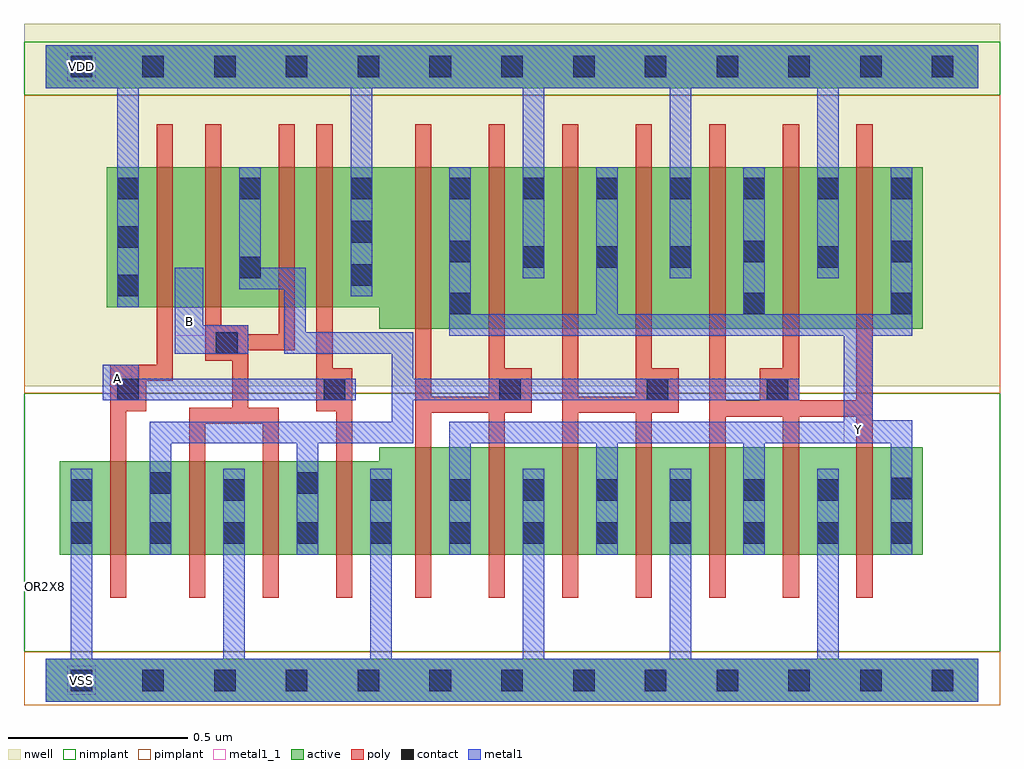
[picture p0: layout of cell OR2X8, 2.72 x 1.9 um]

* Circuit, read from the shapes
.subckt OR2X8 A B VDD VSS Y
M1 n1 A VSS VSS nfet w=0.26u l=0.045u m=2
M2 VSS B n1 VSS nfet w=0.26u l=0.045u m=2
M3 Y n1 VSS VSS nfet w=0.3u l=0.045u m=7
M4 n2 A VDD VDD pfet w=0.39u l=0.045u
M5 n1 B n2 VDD pfet w=0.39u l=0.045u
M6 n3 B n1 VDD pfet w=0.39u l=0.045u
M7 VDD A n3 VDD pfet w=0.39u l=0.045u
M8 Y n1 VDD VDD pfet w=0.45u l=0.045u m=7
.ends

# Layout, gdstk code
import gdstk
lib = gdstk.Library(unit=1e-6, precision=5e-10)
def R(c, l, rs):  # rectangles x0, y0, x1, y1
    for r in rs: c.add(gdstk.rectangle(r[:2], r[2:], *l))
def A(c, l, x, y, w, h, nx, ny, dx, dy):  # array of equal rectangles
    R(c, l, [(x+i*dx, y+j*dy, x+i*dx+w, y+j*dy+h) for i in range(nx) for j in range(ny)])
def P(c, l, *ps):  # polygons
    for p in ps: c.add(gdstk.Polygon(p, *l))
active = (1, 0)
nwell = (2, 0)
poly = (3, 0)
nimplant = (4, 0)
pimplant = (5, 0)
contact = (6, 0)
metal1 = (7, 0)
metal1_1 = (7, 1)

or2x8 = lib.new_cell('OR2X8')
R(or2x8, active, [(0,-0.06,2.6,0.06), (0,1.65,2.6,1.77)])
P(or2x8, active, [(0.93,0.65),(2.445,0.65),(2.445,0.35),(0.04,0.35),(0.04,0.61),(0.93,0.61)],
  [(0.17,1.43),(2.445,1.43),(2.445,0.98),(0.93,0.98),(0.93,1.04),(0.17,1.04)])
R(or2x8, nwell, [(-0.06,0.82,2.66,1.83)])
P(or2x8, poly, [(0.755,1.55),(0.8,1.55),(0.8,0.87),(0.855,0.87),(0.855,0.23),(0.81,0.23),(0.81,0.75),(0.755,0.75)],
  [(0.445,1.55),(0.49,1.55),(0.49,0.99),(0.565,0.99),(0.565,0.965),(0.65,0.965),(0.65,1.55),(0.695,1.55),(0.695,0.92),(0.565,0.92),(0.565,0.76),(0.65,0.76),(0.65,0.23),(0.605,0.23),(0.605,0.715),(0.445,0.715),(0.445,0.23),(0.4,0.23),(0.4,0.76),(0.52,0.76),(0.52,0.89),(0.445,0.89)],
  [(0.31,1.55),(0.355,1.55),(0.355,0.835),(0.28,0.835),(0.28,0.75),(0.225,0.75),(0.225,0.23),(0.18,0.23),(0.18,0.88),(0.31,0.88)],
  [(1.355,0.87),(1.28,0.87),(1.28,1.55),(1.235,1.55),(1.235,0.79),(1.075,0.79),(1.075,1.55),(1.03,1.55),(1.03,0.23),(1.075,0.23),(1.075,0.745),(1.235,0.745),(1.235,0.23),(1.28,0.23),(1.28,0.745),(1.355,0.745)],
  [(1.85,1.55),(1.895,1.55),(1.895,0.78),(1.99,0.78),(1.99,0.87),(2.055,0.87),(2.055,1.55),(2.1,1.55),(2.1,0.78),(2.26,0.78),(2.26,1.55),(2.305,1.55),(2.305,0.23),(2.26,0.23),(2.26,0.735),(2.1,0.735),(2.1,0.23),(2.055,0.23),(2.055,0.735),(1.895,0.735),(1.895,0.23),(1.85,0.23)],
  [(1.765,0.87),(1.69,0.87),(1.69,1.55),(1.645,1.55),(1.645,0.79),(1.485,0.79),(1.485,1.55),(1.44,1.55),(1.44,0.23),(1.485,0.23),(1.485,0.745),(1.645,0.745),(1.645,0.23),(1.69,0.23),(1.69,0.745),(1.765,0.745)])
R(or2x8, nimplant, [(-0.06,0.08,2.66,0.8), (-0.06,1.63,2.66,1.78)])
R(or2x8, pimplant, [(-0.06,-0.07,2.66,0.08), (-0.06,0.8,2.66,1.63)])
A(or2x8, contact, 0.07, -0.03, 0.06, 0.06, 13, 2, 0.2, 1.71)
A(or2x8, contact, 0.29, 0.38, 0.06, 0.06, 4, 1, 0.205, 0)
A(or2x8, contact, 1.125, 0.38, 0.06, 0.06, 7, 2, 0.205, 0.96)
A(or2x8, contact, 1.125, 0.5, 0.06, 0.06, 6, 1, 0.205, 0)
A(or2x8, contact, 0.2, 1.07, 0.06, 0.06, 1, 3, 0, 0.135)
A(or2x8, contact, 0.85, 1.1, 0.06, 0.06, 1, 3, 0, 0.12)
A(or2x8, contact, 1.33, 1.15, 0.06, 0.06, 3, 1, 0.205, 0)
R(or2x8, contact, [(0.07,0.38,0.13,0.44), (0.07,0.5,0.13,0.56), (0.495,0.5,0.555,0.56), (0.905,0.5,0.965,0.56), (2.355,0.505,2.415,0.565), (0.29,0.52,0.35,0.58), (0.7,0.52,0.76,0.58), (0.2,0.78,0.26,0.84), (0.775,0.78,0.835,0.84), (1.265,0.78,1.325,0.84), (1.675,0.78,1.735,0.84), (2.01,0.78,2.07,0.84), (0.475,0.91,0.535,0.97), (1.125,1.02,1.185,1.08), (1.945,1.02,2.005,1.08), (2.355,1.02,2.415,1.08), (0.54,1.12,0.6,1.18), (2.15,1.15,2.21,1.21), (1.125,1.165,1.185,1.225), (1.945,1.165,2.005,1.225), (2.355,1.165,2.415,1.225), (0.54,1.34,0.6,1.4)])
P(or2x8, metal1, [(2.415,0.725),(2.305,0.725),(2.305,0.96),(2.415,0.96),(2.415,1.43),(2.355,1.43),(2.355,1.02),(2.005,1.02),(2.005,1.43),(1.945,1.43),(1.945,1.02),(1.595,1.02),(1.595,1.43),(1.535,1.43),(1.535,1.02),(1.185,1.02),(1.185,1.43),(1.125,1.43),(1.125,0.96),(2.225,0.96),(2.225,0.72),(1.125,0.72),(1.125,0.35),(1.185,0.35),(1.185,0.66),(1.535,0.66),(1.535,0.35),(1.595,0.35),(1.595,0.66),(1.945,0.66),(1.945,0.35),(2.005,0.35),(2.005,0.66),(2.355,0.66),(2.355,0.35),(2.415,0.35)],
  [(2.1,0.84),(1.025,0.84),(1.025,0.97),(0.725,0.97),(0.725,1.15),(0.6,1.15),(0.6,1.43),(0.54,1.43),(0.54,1.09),(0.665,1.09),(0.665,0.91),(0.965,0.91),(0.965,0.72),(0.29,0.72),(0.29,0.35),(0.35,0.35),(0.35,0.66),(0.7,0.66),(0.7,0.35),(0.76,0.35),(0.76,0.66),(1.025,0.66),(1.025,0.78),(2.1,0.78)],
  [(0.865,0.84),(0.26,0.84),(0.26,0.88),(0.16,0.88),(0.16,0.78),(0.865,0.78)],
  [(0.565,0.99),(0.44,0.99),(0.44,1.15),(0.36,1.15),(0.36,0.91),(0.565,0.91)],
  [(2.6,1.77),(0,1.77),(0,1.65),(0.2,1.65),(0.2,1.04),(0.26,1.04),(0.26,1.65),(0.85,1.65),(0.85,1.07),(0.91,1.07),(0.91,1.65),(1.33,1.65),(1.33,1.12),(1.39,1.12),(1.39,1.65),(1.74,1.65),(1.74,1.12),(1.8,1.12),(1.8,1.65),(2.15,1.65),(2.15,1.12),(2.21,1.12),(2.21,1.65),(2.6,1.65)],
  [(2.6,0.06),(2.21,0.06),(2.21,0.59),(2.15,0.59),(2.15,0.06),(1.8,0.06),(1.8,0.59),(1.74,0.59),(1.74,0.06),(1.39,0.06),(1.39,0.59),(1.33,0.59),(1.33,0.06),(0.965,0.06),(0.965,0.59),(0.905,0.59),(0.905,0.06),(0.555,0.06),(0.555,0.59),(0.495,0.59),(0.495,0.06),(0.13,0.06),(0.13,0.59),(0.07,0.59),(0.07,0.06),(0,0.06),(0,-0.06),(2.6,-0.06)])
R(or2x8, metal1_1, [(0.06,-0.04,0.14,0.04), (2.225,0.66,2.305,0.74), (0.16,0.8,0.24,0.88), (0.36,0.96,0.44,1.04), (0.06,1.67,0.14,1.75)])
or2x8.add(gdstk.Label('OR2X8', (0,0.26), layer=63, texttype=0))
or2x8.add(gdstk.Label('VSS', (0.1,0), layer=7, texttype=1))
or2x8.add(gdstk.Label('VDD', (0.1,1.71), layer=7, texttype=1))
or2x8.add(gdstk.Label('A', (0.2,0.84), layer=7, texttype=1))
or2x8.add(gdstk.Label('B', (0.4,1), layer=7, texttype=1))
or2x8.add(gdstk.Label('Y', (2.265,0.7), layer=7, texttype=1))

lib.write_gds('OR2X8.gds')
